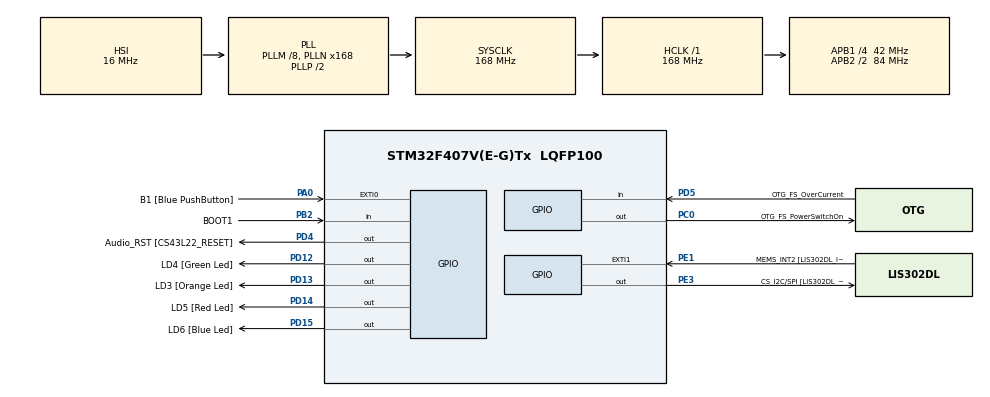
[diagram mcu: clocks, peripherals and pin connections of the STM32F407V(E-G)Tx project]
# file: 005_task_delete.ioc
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Mcu.Family=STM32F4
Mcu.Name=STM32F407V(E-G)Tx
Mcu.Package=LQFP100
NVIC.PriorityGroup=NVIC_PRIORITYGROUP_0
NVIC.TIM6_DAC_IRQn=true\:0\:0\:false\:false\:true\:false\:true\:true
NVIC.TimeBase=TIM6_DAC_IRQn
NVIC.TimeBaseIP=TIM6
PA0-WKUP.GPIO_Label=B1 [Blue PushButton]
PA0-WKUP.Signal=GPXTI0
PA10.GPIO_Label=OTG_FS_ID
PA10.GPIO_Mode=GPIO_MODE_AF_PP
PA10.GPIO_PuPd=GPIO_NOPULL
PA10.GPIO_Speed=GPIO_SPEED_FREQ_LOW
PA10.Signal=USB_OTG_FS_ID
PA11.GPIO_Label=OTG_FS_DM
PA11.GPIO_Mode=GPIO_MODE_AF_PP
PA11.GPIO_PuPd=GPIO_NOPULL
PA11.GPIO_Speed=GPIO_SPEED_FREQ_LOW
PA11.Signal=USB_OTG_FS_DM
PA12.GPIO_Label=OTG_FS_DP
PA12.GPIO_Mode=GPIO_MODE_AF_PP
PA12.GPIO_PuPd=GPIO_NOPULL
PA12.GPIO_Speed=GPIO_SPEED_FREQ_LOW
PA12.Signal=USB_OTG_FS_DP
PA13.GPIO_Label=SWDIO
PA13.Signal=SYS_JTMS-SWDIO
PA14.GPIO_Label=SWCLK
PA14.Signal=SYS_JTCK-SWCLK
PA4.GPIO_Label=I2S3_WS [CS43L22_LRCK]
PA4.GPIO_Mode=GPIO_MODE_AF_PP
PA4.GPIO_PuPd=GPIO_NOPULL
PA4.GPIO_Speed=GPIO_SPEED_FREQ_LOW
PA4.Signal=I2S3_WS
PA5.GPIO_Label=SPI1_SCK [LIS302DL_SCL/SPC]
PA5.GPIO_Mode=GPIO_MODE_AF_PP
PA5.GPIO_PuPd=GPIO_NOPULL
PA5.GPIO_Speed=GPIO_SPEED_FREQ_LOW
PA5.Signal=SPI1_SCK
PA6.GPIO_Label=SPI1_MISO [LIS302DL_SDO]
PA6.GPIO_Mode=GPIO_MODE_AF_PP
PA6.GPIO_PuPd=GPIO_NOPULL
PA6.GPIO_Speed=GPIO_SPEED_FREQ_LOW
PA6.Signal=SPI1_MISO
PA7.GPIO_Label=SPI1_MOSI [LIS302DL_SDA/SDI/SDO]
PA7.GPIO_Mode=GPIO_MODE_AF_PP
PA7.GPIO_PuPd=GPIO_NOPULL
PA7.GPIO_Speed=GPIO_SPEED_FREQ_LOW
PA7.Signal=SPI1_MOSI
PA9.GPIO_Label=VBUS_FS
PA9.GPIO_Mode=GPIO_MODE_INPUT
PA9.GPIO_PuPd=GPIO_NOPULL
PA9.Signal=USB_OTG_FS_VBUS
PB10.GPIO_Label=CLK_IN [MP45DT02_CLK]
PB10.GPIO_Mode=GPIO_MODE_AF_PP
PB10.GPIO_PuPd=GPIO_NOPULL
PB10.GPIO_Speed=GPIO_SPEED_FREQ_LOW
PB10.Signal=I2S2_CK
PB2.GPIO_Label=BOOT1
PB2.GPIO_Mode=GPIO_MODE_INPUT
PB2.GPIO_PuPd=GPIO_NOPULL
PB2.Signal=GPIO_Input
PB3.GPIO_Label=SWO
PB3.Signal=SYS_JTDO-SWO
PB6.GPIO_Label=Audio_SCL [CS43L22_SCL]
PB6.GPIO_Mode=GPIO_MODE_AF_OD
PB6.GPIO_PuPd=GPIO_NOPULL
PB6.GPIO_Speed=GPIO_SPEED_FREQ_LOW
PB6.Signal=I2C1_SCL
PB9.GPIO_Label=Audio_SDA [CS43L22_SDA]
PB9.GPIO_Mode=GPIO_MODE_AF_OD
PB9.GPIO_PuPd=GPIO_NOPULL
PB9.GPIO_Speed=GPIO_SPEED_FREQ_LOW
PB9.Signal=I2C1_SDA
PC0.GPIO_Label=OTG_FS_PowerSwitchOn
PC0.GPIO_PuPd=GPIO_NOPULL
PC0.GPIO_Speed=GPIO_SPEED_FREQ_LOW
PC0.PinState=GPIO_PIN_SET
PC0.Signal=GPIO_Output
PC10.GPIO_Label=I2S3_SCK [CS43L22_SCLK]
PC10.GPIO_Mode=GPIO_MODE_AF_PP
PC10.GPIO_PuPd=GPIO_NOPULL
PC10.GPIO_Speed=GPIO_SPEED_FREQ_LOW
PC10.Signal=I2S3_CK
PC12.GPIO_Label=I2S3_SD [CS43L22_SDIN]
PC12.GPIO_Mode=GPIO_MODE_AF_PP
PC12.GPIO_PuPd=GPIO_NOPULL
PC12.GPIO_Speed=GPIO_SPEED_FREQ_LOW
PC12.Signal=I2S3_SD
PC14-OSC32_IN.GPIO_Label=PC14-OSC32_IN
PC14-OSC32_IN.Signal=RCC_OSC32_IN
PC15-OSC32_OUT.GPIO_Label=PC15-OSC32_OUT
PC15-OSC32_OUT.Signal=RCC_OSC32_OUT
PC3.GPIO_Label=PDM_OUT [MP45DT02_DOUT]
PC3.GPIO_Mode=GPIO_MODE_AF_PP
PC3.GPIO_PuPd=GPIO_NOPULL
PC3.GPIO_Speed=GPIO_SPEED_FREQ_LOW
PC3.Signal=I2S2_SD
PC7.GPIO_Label=I2S3_MCK [CS43L22_MCLK]
PC7.GPIO_Mode=GPIO_MODE_AF_PP
PC7.GPIO_PuPd=GPIO_NOPULL
PC7.GPIO_Speed=GPIO_SPEED_FREQ_LOW
PC7.Signal=I2S3_MCK
PD12.GPIO_Label=LD4 [Green Led]
PD12.GPIO_PuPd=GPIO_NOPULL
PD12.GPIO_Speed=GPIO_SPEED_FREQ_LOW
PD12.Signal=GPIO_Output
PD13.GPIO_Label=LD3 [Orange Led]
PD13.GPIO_PuPd=GPIO_NOPULL
PD13.GPIO_Speed=GPIO_SPEED_FREQ_LOW
PD13.Signal=GPIO_Output
PD14.GPIO_Label=LD5 [Red Led]
PD14.GPIO_PuPd=GPIO_NOPULL
PD14.GPIO_Speed=GPIO_SPEED_FREQ_LOW
PD14.Signal=GPIO_Output
PD15.GPIO_Label=LD6 [Blue Led]
PD15.GPIO_PuPd=GPIO_NOPULL
PD15.GPIO_Speed=GPIO_SPEED_FREQ_LOW
PD15.Signal=GPIO_Output
PD4.GPIO_Label=Audio_RST [CS43L22_RESET]
PD4.GPIO_PuPd=GPIO_NOPULL
PD4.GPIO_Speed=GPIO_SPEED_FREQ_LOW
PD4.Signal=GPIO_Output
PD5.GPIO_Label=OTG_FS_OverCurrent
PD5.GPIO_Mode=GPIO_MODE_INPUT
PD5.GPIO_PuPd=GPIO_NOPULL
PD5.Signal=GPIO_Input
PE1.GPIO_Label=MEMS_INT2 [LIS302DL_INT2]
PE1.GPIO_ModeDefaultEXTI=GPIO_MODE_EVT_RISING
PE1.GPIO_PuPd=GPIO_NOPULL
PE1.Signal=GPXTI1
PE3.GPIO_Label=CS_I2C/SPI [LIS302DL_CS_I2C/SPI]
PE3.GPIO_PuPd=GPIO_NOPULL
PE3.GPIO_Speed=GPIO_SPEED_FREQ_LOW
PE3.Signal=GPIO_Output
PH0-OSC_IN.GPIO_Label=PH0-OSC_IN
PH0-OSC_IN.Signal=RCC_OSC_IN
PH1-OSC_OUT.GPIO_Label=PH1-OSC_OUT
PH1-OSC_OUT.Signal=RCC_OSC_OUT
ProjectManager.HeapSize=0x200
ProjectManager.StackSize=0x400
ProjectManager.TargetToolchain=STM32CubeIDE
RCC.48MHZClocksFreq_Value=48000000
RCC.AHBFreq_Value=168000000
RCC.APB1CLKDivider=RCC_HCLK_DIV4
RCC.APB1Freq_Value=42000000
RCC.APB1TimFreq_Value=84000000
RCC.APB2CLKDivider=RCC_HCLK_DIV2
RCC.APB2Freq_Value=84000000
RCC.APB2TimFreq_Value=168000000
RCC.CortexFreq_Value=168000000
RCC.HCLKFreq_Value=168000000
RCC.HSE_VALUE=8000000
RCC.HSI_VALUE=16000000
RCC.LSE_VALUE=32768
RCC.PLLM=8
RCC.PLLN=168
RCC.PLLQ=7
RCC.SYSCLKFreq_VALUE=168000000
RCC.SYSCLKSource=RCC_SYSCLKSOURCE_PLLCLK
RCC.VCOOutputFreq_Value=336000000
VP_SYS_VS_tim6.Mode=TIM6
board=STM32F407G-DISC1

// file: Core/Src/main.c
/* USER CODE BEGIN Header */
/**
  ******************************************************************************
  * @file           : main.c
  * @brief          : Main program body
  ******************************************************************************
  * @attention
  *
  * Copyright (c) 2026 STMicroelectronics.
  * All rights reserved.
  *
  * This software is licensed under terms that can be found in the LICENSE file
  * in the root directory of this software component.
  * If no LICENSE file comes with this software, it is provided AS-IS.
  *
  ******************************************************************************
  */
/* USER CODE END Header */
#include "main.h"

/* USER CODE BEGIN Includes */
#include "FreeRTOS.h"
#include "task.h"
/* USER CODE END Includes */

/* USER CODE BEGIN PM */

#define DWT_CTRL	(*(volatile uint32_t*)0xE0001000)

/* USER CODE END PM */

void SystemClock_Config(void);
static void MX_GPIO_Init(void);

/* USER CODE BEGIN 0 */

static void led_green_handler(void* parameters);
static void led_orange_handler(void* parameters);
static void led_blue_handler(void* parameters);
static void button_handler(void* parameters);

extern void SEGGER_UART_init(uint32_t);

TaskHandle_t led_green_handle;
TaskHandle_t led_blue_handle;
TaskHandle_t led_orange_handle;

TaskHandle_t button_handle;
TaskHandle_t volatile next_task = NULL;

/* USER CODE END 0 */

int main(void)
{

  /* USER CODE BEGIN 1 */

	BaseType_t status;

  /* USER CODE END 1 */

  /* MCU Configuration--------------------------------------------------------*/

  /* Reset of all peripherals, Initializes the Flash interface and the Systick. */
  HAL_Init();

  /* Configure the system clock */
  SystemClock_Config();

  /* Initialize all configured peripherals */
  MX_GPIO_Init();
  /* USER CODE BEGIN 2 */

  SEGGER_UART_init(500000);

  //cyccnt enable
  DWT_CTRL |= (1<<0);

  SEGGER_SYSVIEW_Conf();

  status =  xTaskCreate(led_green_handler, "led_green_handle", 200, NULL, 3, &led_green_handle);
  configASSERT(status == pdPASS);

  next_task = led_green_handle;

  status =  xTaskCreate(led_blue_handler, "led_blue_handle", 200, NULL, 2, &led_blue_handle);
  configASSERT(status == pdPASS);

  status =  xTaskCreate(led_orange_handler, "led_orange_handle", 200, NULL, 1, &led_orange_handle);
  configASSERT(status == pdPASS);

  status = xTaskCreate(button_handler, "Button Task", 200, NULL, 4, &button_handle);
  configASSERT(status == pdPASS);

  //start schedule
  vTaskStartScheduler();

  //

  /* USER CODE END 2 */

  /* Infinite loop */
  while (1)
  {

  }
}

void SystemClock_Config(void)
{
  RCC_OscInitTypeDef RCC_OscInitStruct = {0};
  RCC_ClkInitTypeDef RCC_ClkInitStruct = {0};

  /** Configure the main internal regulator output voltage
  */
  __HAL_RCC_PWR_CLK_ENABLE();
  __HAL_PWR_VOLTAGESCALING_CONFIG(PWR_REGULATOR_VOLTAGE_SCALE1);

  /** Initializes the RCC Oscillators according to the specified parameters
  * in the RCC_OscInitTypeDef structure.
  */
  RCC_OscInitStruct.OscillatorType = RCC_OSCILLATORTYPE_HSI;
  RCC_OscInitStruct.HSIState = RCC_HSI_ON;
  RCC_OscInitStruct.HSICalibrationValue = RCC_HSICALIBRATION_DEFAULT;
  RCC_OscInitStruct.PLL.PLLState = RCC_PLL_ON;
  RCC_OscInitStruct.PLL.PLLSource = RCC_PLLSOURCE_HSI;
  RCC_OscInitStruct.PLL.PLLM = 8;
  RCC_OscInitStruct.PLL.PLLN = 168;
  RCC_OscInitStruct.PLL.PLLP = RCC_PLLP_DIV2;
  RCC_OscInitStruct.PLL.PLLQ = 7;
  if (HAL_RCC_OscConfig(&RCC_OscInitStruct) != HAL_OK)
  {
	Error_Handler();
  }

  /** Initializes the CPU, AHB and APB buses clocks
  */
  RCC_ClkInitStruct.ClockType = RCC_CLOCKTYPE_HCLK|RCC_CLOCKTYPE_SYSCLK
							  |RCC_CLOCKTYPE_PCLK1|RCC_CLOCKTYPE_PCLK2;
  RCC_ClkInitStruct.SYSCLKSource = RCC_SYSCLKSOURCE_PLLCLK;
  RCC_ClkInitStruct.AHBCLKDivider = RCC_SYSCLK_DIV1;
  RCC_ClkInitStruct.APB1CLKDivider = RCC_HCLK_DIV4;
  RCC_ClkInitStruct.APB2CLKDivider = RCC_HCLK_DIV2;

  if (HAL_RCC_ClockConfig(&RCC_ClkInitStruct, FLASH_LATENCY_5) != HAL_OK)
  {
	Error_Handler();
  }
}

static void MX_GPIO_Init(void)
{
  GPIO_InitTypeDef GPIO_InitStruct = {0};

  /* GPIO Ports Clock Enable */
  __HAL_RCC_GPIOE_CLK_ENABLE();
  __HAL_RCC_GPIOC_CLK_ENABLE();
  __HAL_RCC_GPIOH_CLK_ENABLE();
  __HAL_RCC_GPIOA_CLK_ENABLE();
  __HAL_RCC_GPIOB_CLK_ENABLE();
  __HAL_RCC_GPIOD_CLK_ENABLE();

  /*Configure GPIO pin Output Level */
  HAL_GPIO_WritePin(CS_I2C_SPI_GPIO_Port, CS_I2C_SPI_Pin, GPIO_PIN_RESET);

  /*Configure GPIO pin Output Level */
  HAL_GPIO_WritePin(OTG_FS_PowerSwitchOn_GPIO_Port, OTG_FS_PowerSwitchOn_Pin, GPIO_PIN_SET);

  /*Configure GPIO pin Output Level */
  HAL_GPIO_WritePin(GPIOD, LD4_Pin|LD3_Pin|LD5_Pin|LD6_Pin
						  |Audio_RST_Pin, GPIO_PIN_RESET);

  /*Configure GPIO pin : CS_I2C_SPI_Pin */
  GPIO_InitStruct.Pin = CS_I2C_SPI_Pin;
  GPIO_InitStruct.Mode = GPIO_MODE_OUTPUT_PP;
  GPIO_InitStruct.Pull = GPIO_NOPULL;
  GPIO_InitStruct.Speed = GPIO_SPEED_FREQ_LOW;
  HAL_GPIO_Init(CS_I2C_SPI_GPIO_Port, &GPIO_InitStruct);

  /*Configure GPIO pin : OTG_FS_PowerSwitchOn_Pin */
  GPIO_InitStruct.Pin = OTG_FS_PowerSwitchOn_Pin;
  GPIO_InitStruct.Mode = GPIO_MODE_OUTPUT_PP;
  GPIO_InitStruct.Pull = GPIO_NOPULL;
  GPIO_InitStruct.Speed = GPIO_SPEED_FREQ_LOW;
  HAL_GPIO_Init(OTG_FS_PowerSwitchOn_GPIO_Port, &GPIO_InitStruct);

  /*Configure GPIO pin : PDM_OUT_Pin */
  GPIO_InitStruct.Pin = PDM_OUT_Pin;
  GPIO_InitStruct.Mode = GPIO_MODE_AF_PP;
  GPIO_InitStruct.Pull = GPIO_NOPULL;
  GPIO_InitStruct.Speed = GPIO_SPEED_FREQ_LOW;
  GPIO_InitStruct.Alternate = GPIO_AF5_SPI2;
  HAL_GPIO_Init(PDM_OUT_GPIO_Port, &GPIO_InitStruct);

  /*Configure GPIO pin : B1_Pin */
  GPIO_InitStruct.Pin = B1_Pin;
  GPIO_InitStruct.Mode = GPIO_MODE_IT_RISING;
  GPIO_InitStruct.Pull = GPIO_NOPULL;
  HAL_GPIO_Init(B1_GPIO_Port, &GPIO_InitStruct);

  /*Configure GPIO pin : I2S3_WS_Pin */
  GPIO_InitStruct.Pin = I2S3_WS_Pin;
  GPIO_InitStruct.Mode = GPIO_MODE_AF_PP;
  GPIO_InitStruct.Pull = GPIO_NOPULL;
  GPIO_InitStruct.Speed = GPIO_SPEED_FREQ_LOW;
  GPIO_InitStruct.Alternate = GPIO_AF6_SPI3;
  HAL_GPIO_Init(I2S3_WS_GPIO_Port, &GPIO_InitStruct);

  /*Configure GPIO pins : SPI1_SCK_Pin SPI1_MISO_Pin SPI1_MOSI_Pin */
  GPIO_InitStruct.Pin = SPI1_SCK_Pin|SPI1_MISO_Pin|SPI1_MOSI_Pin;
  GPIO_InitStruct.Mode = GPIO_MODE_AF_PP;
  GPIO_InitStruct.Pull = GPIO_NOPULL;
  GPIO_InitStruct.Speed = GPIO_SPEED_FREQ_LOW;
  GPIO_InitStruct.Alternate = GPIO_AF5_SPI1;
  HAL_GPIO_Init(GPIOA, &GPIO_InitStruct);

  /*Configure GPIO pin : BOOT1_Pin */
  GPIO_InitStruct.Pin = BOOT1_Pin;
  GPIO_InitStruct.Mode = GPIO_MODE_INPUT;
  GPIO_InitStruct.Pull = GPIO_NOPULL;
  HAL_GPIO_Init(BOOT1_GPIO_Port, &GPIO_InitStruct);

  /*Configure GPIO pin : CLK_IN_Pin */
  GPIO_InitStruct.Pin = CLK_IN_Pin;
  GPIO_InitStruct.Mode = GPIO_MODE_AF_PP;
  GPIO_InitStruct.Pull = GPIO_NOPULL;
  GPIO_InitStruct.Speed = GPIO_SPEED_FREQ_LOW;
  GPIO_InitStruct.Alternate = GPIO_AF5_SPI2;
  HAL_GPIO_Init(CLK_IN_GPIO_Port, &GPIO_InitStruct);

  /*Configure GPIO pins : LD4_Pin LD3_Pin LD5_Pin LD6_Pin
						   Audio_RST_Pin */
  GPIO_InitStruct.Pin = LD4_Pin|LD3_Pin|LD5_Pin|LD6_Pin
						  |Audio_RST_Pin;
  GPIO_InitStruct.Mode = GPIO_MODE_OUTPUT_PP;
  GPIO_InitStruct.Pull = GPIO_NOPULL;
  GPIO_InitStruct.Speed = GPIO_SPEED_FREQ_LOW;
  HAL_GPIO_Init(GPIOD, &GPIO_InitStruct);

  /*Configure GPIO pins : I2S3_MCK_Pin I2S3_SCK_Pin I2S3_SD_Pin */
  GPIO_InitStruct.Pin = I2S3_MCK_Pin|I2S3_SCK_Pin|I2S3_SD_Pin;
  GPIO_InitStruct.Mode = GPIO_MODE_AF_PP;
  GPIO_InitStruct.Pull = GPIO_NOPULL;
  GPIO_InitStruct.Speed = GPIO_SPEED_FREQ_LOW;
  GPIO_InitStruct.Alternate = GPIO_AF6_SPI3;
  HAL_GPIO_Init(GPIOC, &GPIO_InitStruct);

  /*Configure GPIO pin : VBUS_FS_Pin */
  GPIO_InitStruct.Pin = VBUS_FS_Pin;
  GPIO_InitStruct.Mode = GPIO_MODE_INPUT;
  GPIO_InitStruct.Pull = GPIO_NOPULL;
  HAL_GPIO_Init(VBUS_FS_GPIO_Port, &GPIO_InitStruct);

  /*Configure GPIO pins : OTG_FS_ID_Pin OTG_FS_DM_Pin OTG_FS_DP_Pin */
  GPIO_InitStruct.Pin = OTG_FS_ID_Pin|OTG_FS_DM_Pin|OTG_FS_DP_Pin;
  GPIO_InitStruct.Mode = GPIO_MODE_AF_PP;
  GPIO_InitStruct.Pull = GPIO_NOPULL;
  GPIO_InitStruct.Speed = GPIO_SPEED_FREQ_LOW;
  GPIO_InitStruct.Alternate = GPIO_AF10_OTG_FS;
  HAL_GPIO_Init(GPIOA, &GPIO_InitStruct);

  /*Configure GPIO pin : OTG_FS_OverCurrent_Pin */
  GPIO_InitStruct.Pin = OTG_FS_OverCurrent_Pin;
  GPIO_InitStruct.Mode = GPIO_MODE_INPUT;
  GPIO_InitStruct.Pull = GPIO_NOPULL;
  HAL_GPIO_Init(OTG_FS_OverCurrent_GPIO_Port, &GPIO_InitStruct);

  /*Configure GPIO pins : Audio_SCL_Pin Audio_SDA_Pin */
  GPIO_InitStruct.Pin = Audio_SCL_Pin|Audio_SDA_Pin;
  GPIO_InitStruct.Mode = GPIO_MODE_AF_OD;
  GPIO_InitStruct.Pull = GPIO_NOPULL;
  GPIO_InitStruct.Speed = GPIO_SPEED_FREQ_LOW;
  GPIO_InitStruct.Alternate = GPIO_AF4_I2C1;
  HAL_GPIO_Init(GPIOB, &GPIO_InitStruct);

  /*Configure GPIO pin : MEMS_INT2_Pin */
  GPIO_InitStruct.Pin = MEMS_INT2_Pin;
  GPIO_InitStruct.Mode = GPIO_MODE_EVT_RISING;
  GPIO_InitStruct.Pull = GPIO_NOPULL;
  HAL_GPIO_Init(MEMS_INT2_GPIO_Port, &GPIO_InitStruct);

}

/* USER CODE BEGIN 4 */
static void led_green_handler(void* parameters)
{

	while(1)
	{
		BaseType_t status;
		SEGGER_SYSVIEW_PrintfTarget("toggling led green");
		HAL_GPIO_TogglePin(GPIOD, GPIO_PIN_12);
		status = xTaskNotifyWait(0,0,NULL,pdMS_TO_TICKS(1000));
		if(status == pdTRUE)
		{
			//vTaskSuspendAll();
			next_task = led_orange_handle;
			//xTaskResumeAll();
			HAL_GPIO_WritePin(GPIOD, GPIO_PIN_12, GPIO_PIN_SET);
			SEGGER_SYSVIEW_PrintfTarget("task green deleted");
			vTaskDelete(NULL);
		}
	}

}

static void led_orange_handler(void* parameters)
{

	while(1)
	{
		BaseType_t status;
		SEGGER_SYSVIEW_PrintfTarget("toggling led orange");
		HAL_GPIO_TogglePin(GPIOD, GPIO_PIN_13);
		status = xTaskNotifyWait(0,0,NULL,pdMS_TO_TICKS(800));
		if(status == pdTRUE)
		{
			//vTaskSuspendAll();
			next_task = led_blue_handle;
			//xTaskResumeAll();
			HAL_GPIO_WritePin(GPIOD, GPIO_PIN_13, GPIO_PIN_SET);
			SEGGER_SYSVIEW_PrintfTarget("task orange deleted");
			vTaskDelete(NULL);
		}
	}

}

static void led_blue_handler(void* parameters)
{

	while (1)
	{
		BaseType_t status;
		SEGGER_SYSVIEW_PrintfTarget("toggling led blue");
		HAL_GPIO_TogglePin(GPIOD, GPIO_PIN_15);
		status = xTaskNotifyWait(0,0,NULL,pdMS_TO_TICKS(400));
		if(status == pdTRUE)
		{
			//vTaskSuspendAll();
			next_task = NULL;
			//xTaskResumeAll();
			HAL_GPIO_WritePin(GPIOD, GPIO_PIN_15, GPIO_PIN_SET);
			SEGGER_SYSVIEW_PrintfTarget("task blue deleted");
			vTaskDelete(NULL);
		}

	}

}

static void button_handler(void* parameters)
{
	uint8_t button_status = 0;
	uint8_t prev_status = 0;

	while (1)
	{
		button_status = HAL_GPIO_ReadPin(GPIOA, GPIO_PIN_0);

		if(button_status)
		{
			if(!prev_status)
			{

				xTaskNotify(next_task,0,eNoAction);
			}

		}

		prev_status = button_status;
		vTaskDelay(pdMS_TO_TICKS(10));

	}

}

/* USER CODE END 4 */

void HAL_TIM_PeriodElapsedCallback(TIM_HandleTypeDef *htim)
{
  if (htim->Instance == TIM6)
  {
	HAL_IncTick();
  }
}

void Error_Handler(void)
{
  __disable_irq();
  while (1)
  {
  }
}
